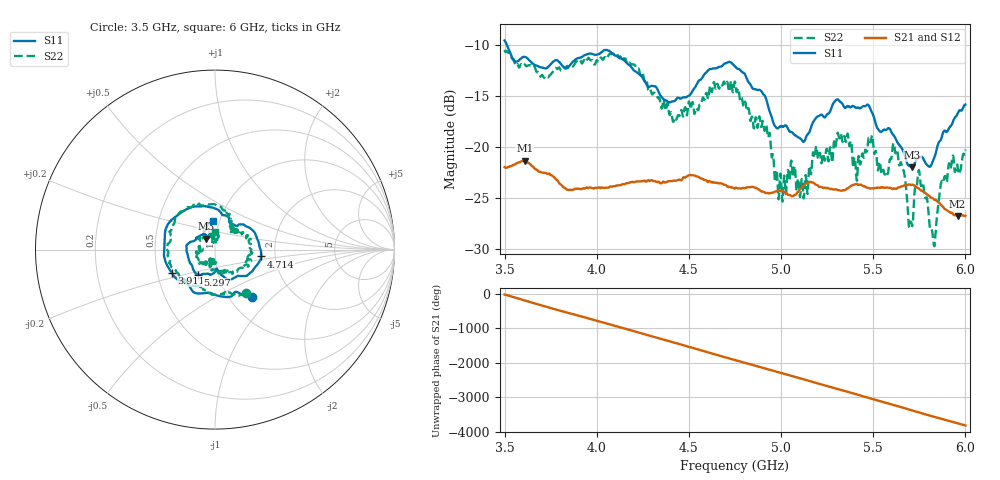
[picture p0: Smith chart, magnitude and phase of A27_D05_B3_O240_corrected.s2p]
! Created with skrf 1.9.0 (http://scikit-rf.org).
# Hz S RI R 50.0
!freq ReS11 ImS11 ReS21 ImS21 ReS12 ImS12 ReS22 ImS22
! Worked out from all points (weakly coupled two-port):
!   1601 points, 3.5 GHz to 6 GHz, reference 50 ohm
!   highest |S21| = -21.35 dB at 3.609 GHz (marker M1); lowest = -26.7 dB at 5.958 GHz (marker M2)
!   lowest |S11| = -22.0 dB at 5.713 GHz (marker M3), VSWR 1.17, Z = 44.8 + j5.51 ohm
!   |S11| at or under -10 dB: 3.512 GHz to end of sweep
!   |S22| runs from -29.7 to -10.5 dB; largest |S21 - S12| = 0.00088
!   S11 on the Smith chart (normalised r, x): 3.5 GHz: 1.27, -0.75; 3.911 GHz: 0.59, -0.17; 4.714 GHz: 1.68, -0.14; 5.297 GHz: 0.79, -0.23; 6 GHz: 0.93, +0.31
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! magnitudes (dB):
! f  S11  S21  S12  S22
! 3.5 GHz  -9.6  -22.0  -22.0  -10.5
! 3.609 GHz  -11.2  -21.4  -21.4  -11.9
! 3.911 GHz  -11.3  -24.1  -24.1  -11.5
! 3.917 GHz  -11.2  -24.1  -24.1  -11.8
! 4.142 GHz  -11.5  -23.6  -23.6  -11.3
! 4.334 GHz  -14.6  -23.4  -23.4  -15.2
! 4.423 GHz  -15.5  -23.3  -23.3  -17.1
! 4.714 GHz  -11.7  -23.9  -23.9  -14.2
! 4.75 GHz  -12.1  -24.1  -24.0  -13.6
! 4.928 GHz  -15.9  -24.5  -24.5  -19.0
! 4.997 GHz  -18.0  -24.3  -24.3  -22.6
! 5.133 GHz  -19.2  -23.6  -23.6  -22.7
! 5.167 GHz  -17.8  -23.5  -23.4  -21.8
! 5.297 GHz  -15.4  -24.1  -24.1  -19.9
! 5.584 GHz  -18.2  -24.0  -24.0  -22.0
! 5.62 GHz  -19.1  -24.1  -24.1  -20.6
! 5.713 GHz  -22.0  -23.7  -23.6  -27.7
! 5.753 GHz  -21.0  -24.2  -24.1  -23.0
! 5.828 GHz  -21.2  -25.1  -25.1  -29.6
! 5.875 GHz  -18.8  -25.8  -25.8  -23.4
! 5.958 GHz  -16.7  -26.7  -26.7  -22.0
! 6 GHz  -15.8  -26.7  -26.7  -20.3
